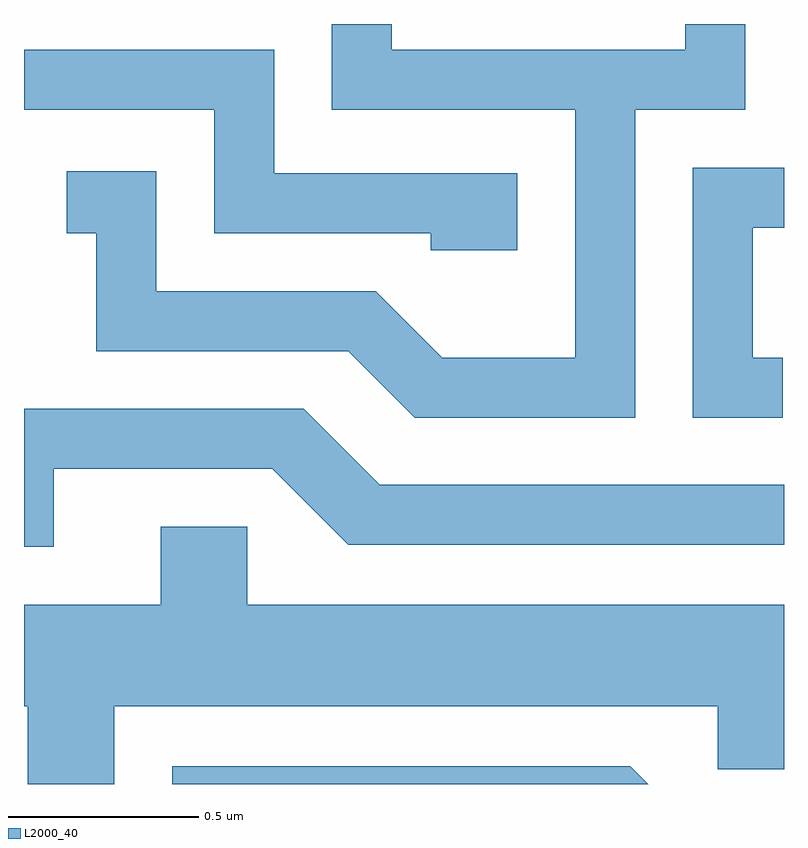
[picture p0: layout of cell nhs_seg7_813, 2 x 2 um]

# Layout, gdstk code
import gdstk
lib = gdstk.Library(unit=1e-6, precision=1e-09)
def P(c, l, *ps):  # polygons
    for p in ps: c.add(gdstk.Polygon(p, *l))
L2000_40 = (2000, 40)

nhs_seg7_813 = lib.new_cell('nhs_seg7_813')
P(nhs_seg7_813, L2000_40, [(192.219,1798.026),(192.509,1798.026),(192.509,1798.252),(192.351,1798.252),(192.351,1798.184),(191.579,1798.184),(191.579,1798.252),(191.421,1798.252),(191.421,1798.026),(192.061,1798.026),(192.061,1797.374),(191.712,1797.374),(191.537,1797.549),(190.959,1797.549),(190.959,1797.864),(190.723,1797.864),(190.723,1797.701),(190.801,1797.701),(190.801,1797.391),(191.464,1797.391),(191.639,1797.216),(192.219,1797.216)],
  [(191.909,1797.859),(191.269,1797.859),(191.269,1798.184),(190.611,1798.184),(190.611,1798.026),(191.111,1798.026),(191.111,1797.701),(191.681,1797.701),(191.681,1797.656),(191.909,1797.656)],
  [(192.608,1797.374),(192.529,1797.374),(192.529,1797.716),(192.611,1797.716),(192.611,1797.874),(192.371,1797.874),(192.371,1797.216),(192.608,1797.216)],
  [(190.689,1797.081),(191.264,1797.081),(191.464,1796.881),(192.611,1796.881),(192.611,1797.039),(191.547,1797.039),(191.347,1797.239),(190.611,1797.239),(190.611,1796.876),(190.689,1796.876)],
  [(190.849,1796.456),(192.436,1796.456),(192.436,1796.291),(192.611,1796.291),(192.611,1796.724),(191.199,1796.724),(191.199,1796.929),(190.971,1796.929),(190.971,1796.724),(190.611,1796.724),(190.611,1796.456),(190.621,1796.456),(190.621,1796.252),(190.849,1796.252)],
  [(192.207,1796.299),(191.001,1796.299),(191.001,1796.252),(192.254,1796.252)])

lib.write_gds('nhs_seg7_813.gds')
